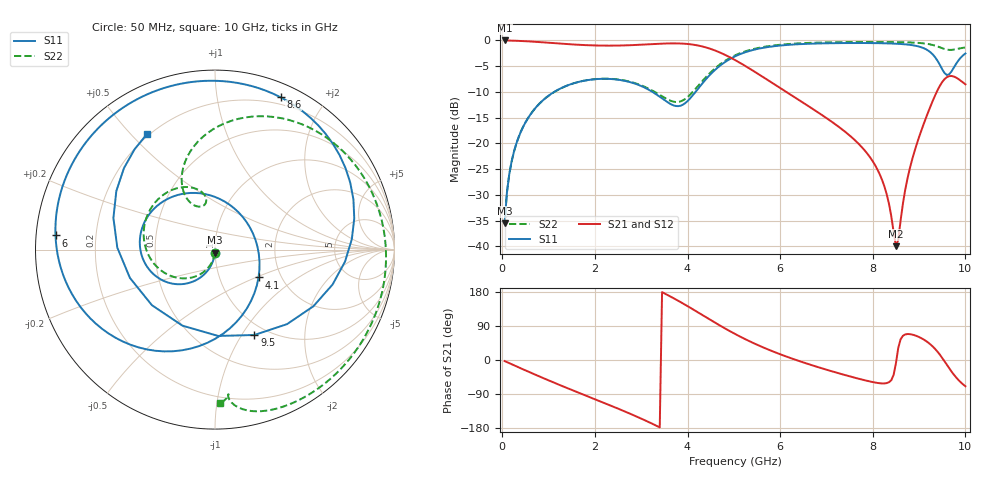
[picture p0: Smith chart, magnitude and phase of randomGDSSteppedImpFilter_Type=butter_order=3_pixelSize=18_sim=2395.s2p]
! freq	dB(S11)	phase(S11)	dB(S12)	phase(S12)
!  dB(S21)	phase(S21)	dB(S22)	phase(S22)
!S-par simulation data
#  GHz  S  DB  R 50
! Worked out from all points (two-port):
!   200 points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, 50 MHz to 10 GHz, reference 50 ohm
!   highest |S21| = 0.00 dB at 50 MHz (marker M1); lowest = -40.0 dB at 8.5 GHz (marker M2)
!   |S21| within 3 dB of the highest: start of sweep to 4.856 GHz
!   lowest |S11| = -35.6 dB at 50 MHz (marker M3), VSWR 1.03, Z = 49.9 - j1.66 ohm
!   |S11| at or under -10 dB: start of sweep to 1.122 GHz; 3.242 GHz to 4.173 GHz (931.2 MHz wide, 25.1 % of centre)
!   |S22| runs from -35.5 to -0.3 dB; largest |S21 - S12| = 0
!   S11 on the Smith chart (normalised r, x): 50 MHz: 1.00, -0.03; 4.1 GHz: 1.53, -0.52; 6 GHz: 0.06, +0.04; 8.6 GHz: 0.13, +1.51; 9.5 GHz: 0.87, -1.14; 10 GHz: 0.19, +0.56
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0.05  -35.55 -92.4  -0.00 -2.8  -0.00 -2.8  -35.54 -93.0
0.2  -23.58 -100.2  -0.04 -11.1  -0.04 -11.1  -23.60 -102.6
0.5  -15.94 -114.9  -0.15 -27.4  -0.15 -27.4  -15.94 -120.9
1.75  -7.86 -172.6  -0.89 -91.3  -0.89 -91.3  -7.85 168.8
2.6  -7.77 145.9  -0.98 -133.4  -0.98 -133.4  -7.72 126.6
3.4  -10.95 84.8  -0.64 -177.9  -0.64 -177.9  -10.58 100.1
4.1  -10.81 -32.6  -0.79 135.0  -0.79 135.0  -10.12 118.5
4.55  -6.09 -89.7  -1.81 101.8  -1.81 101.8  -5.77 109.0
5.05  -2.99 -131.6  -3.93 67.2  -3.93 67.2  -2.80 82.6
6  -0.99 174.9  -9.24 15.2  -9.24 15.2  -0.84 33.3
6.7  -0.62 145.7  -13.29 -14.3  -13.29 -14.3  -0.45 3.7
7.85  -0.51 101.7  -21.64 -54.2  -21.64 -54.2  -0.30 -36.1
8.35  -0.58 79.9  -31.76 -58.6  -31.76 -58.6  -0.31 -51.4
8.5  -0.63 72.3  -39.99 -8.6  -39.99 -8.6  -0.33 -55.8
8.6  -0.68 66.7  -35.07 54.4  -35.07 54.4  -0.34 -58.8
8.8  -0.85 53.9  -24.88 68.2  -24.88 68.2  -0.39 -64.8
9.2  -1.99 12.6  -13.85 45.6  -13.85 45.6  -0.70 -77.1
9.35  -3.31 -16.6  -10.60 28.7  -10.60 28.7  -1.02 -81.6
9.5  -5.62 -65.3  -8.08 5.4  -8.08 5.4  -1.51 -84.5
9.6  -6.73 -113.2  -7.14 -12.6  -7.14 -12.6  -1.78 -84.9
9.75  -5.28 178.8  -7.02 -38.5  -7.02 -38.5  -1.78 -84.7
10  -2.54 120.5  -8.53 -69.2  -8.53 -69.2  -1.34 -88.3
